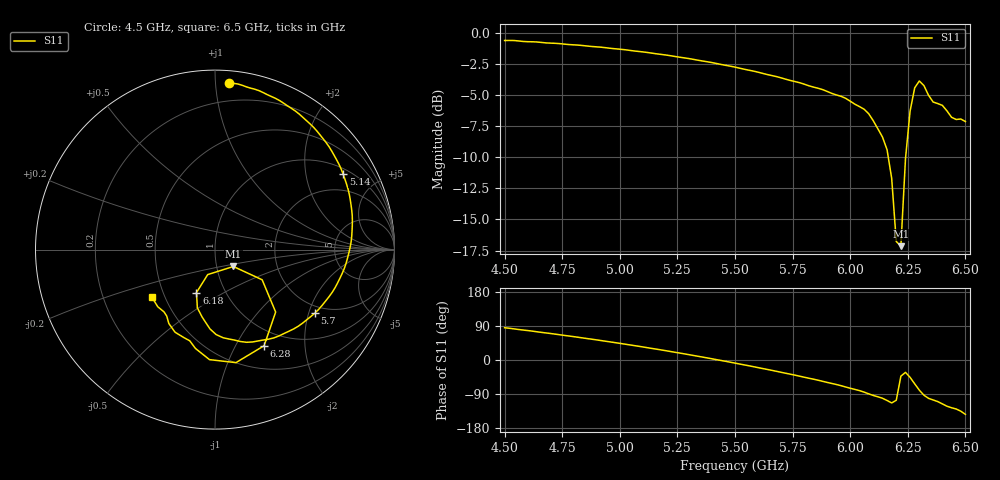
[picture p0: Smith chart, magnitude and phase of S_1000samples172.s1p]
! TOUCHSTONE file generated by CST MICROWAVE STUDIO
! Date and time: Thu Oct 27 06:03:28 2022
! Project name: L.cst
! Parameters = {Di=1.27; Epsilon_r=1.56; InnerDiameter=1.27; Length=2; Lf=10; Lg=60; OuterConductorThickness=0.2921; OuterDiameter=3.6; Wf=3; Wp=41.2; de=1.5; df=6.8; g=0.8; gx=0.9097; gy=3.24795; h=2.34; hf=1.524; px=8.39498; py=13.7446; w=9.7; wx=7.48528; wy=10.4966}
! Header version: 2018
! Port assignment regex: !\s*Touchstone port\s*([0-9]+)\s*=\s*(CST MWS port|CST DS port)\s*([0-9]+|Zmin|Zmax)\s*\(\"(.*)\"\)(\s*mode\s*([0-9]+))?.*
! Touchstone port assignment:
! Touchstone port 1 = CST MWS port 1 ("")
# GHz S DB R 50
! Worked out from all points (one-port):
!   101 points, 4.5 GHz to 6.5 GHz, reference 50 ohm
!   lowest |S11| = -17.1 dB at 6.22 GHz (marker M1), VSWR 1.32, Z = 60.2 - j11.5 ohm
!   |S11| at or under -10 dB: 6.165 GHz to 6.241 GHz (75.34 MHz wide, 1.21 % of centre)
!   S11 on the Smith chart (normalised r, x): 4.5 GHz: 0.08, +1.08; 5.14 GHz: 1.21, +3.25; 5.7 GHz: 1.76, -2.20; 6.18 GHz: 0.73, -0.38; 6.28 GHz: 0.78, -1.31; 6.5 GHz: 0.42, -0.28
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4.5  -0.62 85.2
4.64  -0.73 74.5
4.76  -0.91 64.9
5  -1.31 44.0
5.14  -1.63 30.5
5.26  -1.96 18.3
5.38  -2.33 5.4
5.5  -2.75 -8.2
5.6  -3.16 -20.1
5.7  -3.62 -32.4
5.76  -3.91 -39.9
5.88  -4.56 -56.2
6  -5.49 -74.5
6.08  -6.50 -89.2
6.14  -8.37 -100.9
6.16  -9.40 -106.9
6.18  -11.68 -113.3
6.2  -16.77 -106.2
6.22  -17.15 -42.6
6.24  -10.12 -32.6
6.26  -6.29 -45.8
6.28  -4.42 -62.9
6.3  -3.87 -79.5
6.32  -4.24 -92.9
6.34  -5.02 -101.2
6.42  -6.28 -122.0
6.46  -6.97 -129.3
6.5  -7.13 -143.4
